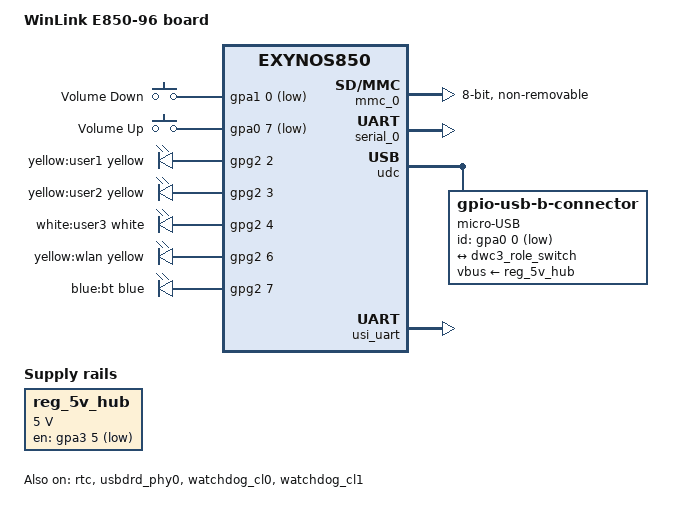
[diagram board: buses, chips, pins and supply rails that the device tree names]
// SPDX-License-Identifier: GPL-2.0
/*
 * WinLink E850-96 board device tree source
 *
 * Copyright (C) 2018 Samsung Electronics Co., Ltd.
 * Copyright (C) 2021 Linaro Ltd.
 *
 * Device tree source file for WinLink's E850-96 board which is based on
 * Samsung Exynos850 SoC.
 */

/dts-v1/;

#include "exynos850.dtsi"
#include <dt-bindings/gpio/gpio.h>
#include <dt-bindings/input/input.h>
#include <dt-bindings/leds/common.h>

/ {
	model = "WinLink E850-96 board";
	compatible = "winlink,e850-96", "samsung,exynos850";

	aliases {
		mmc0 = &mmc_0;
		serial0 = &serial_0;
	};

	chosen {
		stdout-path = &serial_0;
	};

	/*
	 * RAM: 4 GiB (eMCP):
	 *   - 2 GiB at 0x80000000
	 *   - 2 GiB at 0x880000000
	 *
	 * 0xbab00000..0xbfffffff: secure memory (85 MiB).
	 */
	memory@80000000 {
		device_type = "memory";
		reg = <0x0 0x80000000 0x3ab00000>,
		      <0x0 0xc0000000 0x40000000>,
		      <0x8 0x80000000 0x80000000>;
	};

	gpio-keys {
		compatible = "gpio-keys";
		pinctrl-names = "default";
		pinctrl-0 = <&key_voldown_pins &key_volup_pins>;

		volume-down-key {
			label = "Volume Down";
			linux,code = <KEY_VOLUMEDOWN>;
			gpios = <&gpa1 0 GPIO_ACTIVE_LOW>;
		};

		volume-up-key {
			label = "Volume Up";
			linux,code = <KEY_VOLUMEUP>;
			gpios = <&gpa0 7 GPIO_ACTIVE_LOW>;
		};
	};

	leds {
		compatible = "gpio-leds";

		/* HEART_BEAT_LED */
		user_led1: led-1 {
			label = "yellow:user1";
			gpios = <&gpg2 2 GPIO_ACTIVE_HIGH>;
			color = <LED_COLOR_ID_YELLOW>;
			function = LED_FUNCTION_HEARTBEAT;
			linux,default-trigger = "heartbeat";
		};

		/* eMMC_LED */
		user_led2: led-2 {
			label = "yellow:user2";
			gpios = <&gpg2 3 GPIO_ACTIVE_HIGH>;
			color = <LED_COLOR_ID_YELLOW>;
			linux,default-trigger = "mmc0";
		};

		/* SD_LED */
		user_led3: led-3 {
			label = "white:user3";
			gpios = <&gpg2 4 GPIO_ACTIVE_HIGH>;
			color = <LED_COLOR_ID_WHITE>;
			function = LED_FUNCTION_SD;
			linux,default-trigger = "mmc2";
		};

		/* WIFI_LED */
		wlan_active_led: led-4 {
			label = "yellow:wlan";
			gpios = <&gpg2 6 GPIO_ACTIVE_HIGH>;
			color = <LED_COLOR_ID_YELLOW>;
			function = LED_FUNCTION_WLAN;
			linux,default-trigger = "phy0tx";
			default-state = "off";
		};

		/* BLUETOOTH_LED */
		bt_active_led: led-5 {
			label = "blue:bt";
			gpios = <&gpg2 7 GPIO_ACTIVE_HIGH>;
			color = <LED_COLOR_ID_BLUE>;
			function = LED_FUNCTION_BLUETOOTH;
			linux,default-trigger = "hci0-power";
			default-state = "off";
		};
	};

	/*
	 * RTC clock (XrtcXTI); external, must be 32.768 kHz.
	 *
	 * TODO: Remove this once RTC clock is implemented properly as part of
	 *       PMIC driver.
	 */
	rtcclk: clock-rtcclk {
		compatible = "fixed-clock";
		clock-output-names = "rtcclk";
		#clock-cells = <0>;
		clock-frequency = <32768>;
	};

	reg_5v_hub: regulator@0 {
		compatible = "regulator-fixed";
		regulator-name = "5V_HUB";
		regulator-min-microvolt = <5000000>;
		regulator-max-microvolt = <5000000>;
		gpio = <&gpa3 5 GPIO_ACTIVE_LOW>;

		pinctrl-names = "default";
		pinctrl-0 = <&usb_pwr_ctl2>;
	};
};

&cmu_hsi {
	clocks = <&oscclk>, <&rtcclk>,
		 <&cmu_top CLK_DOUT_HSI_BUS>,
		 <&cmu_top CLK_DOUT_HSI_MMC_CARD>,
		 <&cmu_top CLK_DOUT_HSI_USB20DRD>;
	clock-names = "oscclk", "rtcclk", "dout_hsi_bus",
		      "dout_hsi_mmc_card", "dout_hsi_usb20drd";
};

&mmc_0 {
	status = "okay";
	mmc-hs200-1_8v;
	mmc-hs400-1_8v;
	cap-mmc-highspeed;
	non-removable;
	mmc-hs400-enhanced-strobe;
	card-detect-delay = <200>;
	clock-frequency = <800000000>;
	bus-width = <8>;
	samsung,dw-mshc-ciu-div = <3>;
	samsung,dw-mshc-sdr-timing = <0 4>;
	samsung,dw-mshc-ddr-timing = <2 4>;
	samsung,dw-mshc-hs400-timing = <0 2>;

	pinctrl-names = "default";
	pinctrl-0 = <&sd0_clk_pins &sd0_cmd_pins &sd0_rdqs_pins &sd0_nreset_pins
		     &sd0_bus1_pins &sd0_bus4_pins &sd0_bus8_pins>;
};

&oscclk {
	clock-frequency = <26000000>;
};

&pinctrl_alive {
	key_voldown_pins: key-voldown-pins {
		samsung,pins = "gpa1-0";
		samsung,pin-function = <EXYNOS_PIN_FUNC_EINT>;
		samsung,pin-pud = <EXYNOS_PIN_PULL_NONE>;
		samsung,pin-drv = <EXYNOS5420_PIN_DRV_LV1>;
	};

	key_volup_pins: key-volup-pins {
		samsung,pins = "gpa0-7";
		samsung,pin-function = <EXYNOS_PIN_FUNC_EINT>;
		samsung,pin-pud = <EXYNOS_PIN_PULL_NONE>;
		samsung,pin-drv = <EXYNOS5420_PIN_DRV_LV1>;
	};

	vbus_det_2: vbus_det_2 {
		samsung,pins = "gpa0-0";
		samsung,pin-function = <EXYNOS_PIN_FUNC_INPUT>;
		samsung,pin-pud = <EXYNOS_PIN_PULL_NONE>;
	};

	usb_pwr_ctl2: usb_pwr_ctl2 {
		samsung,pins = "gpa3-5";
		samsung,pin-function = <EXYNOS_PIN_FUNC_OUTPUT>;
		samsung,pin-pud = <EXYNOS_PIN_PULL_NONE>;
	};
};

&rtc {
	status = "okay";
	clocks = <&cmu_apm CLK_GOUT_RTC_PCLK>, <&rtcclk>;
	clock-names = "rtc", "rtc_src";
};

&serial_0 {
	status = "okay";
	pinctrl-names = "default";
	pinctrl-0 = <&uart1_pins>;
};

// XXX: For now the LK bootloader enables it for us (and also LDO11)
///* Enable PMIC LDO regulator for LAN9514 chip */
//&l24_reg {
//	regulator-name = "vdd_ldo24";
//	regulator-min-microvolt = <3300000>;
//	regulator-max-microvolt = <3300000>;
//	regulator-always-on;
//	regulator-ramp-delay = <12000>;
//	regulator-initial-mode = <3>;
//};

&udc {
	status = "okay";

	dwc3 {
		status = "okay";
		maximum-speed = "high-speed";
		usb_audio_offloading = <0>;
		xhci_l2_support = <0>;
		xhci_use_uram_for_audio = <0>;
	//	vdd33_usb-supply = <&l11_reg>;

		dr_mode = "otg";
		usb-role-switch;
		role-switch-default-mode = "host";

		port {
			#address-cells = <1>;
			#size-cells = <0>;

			dwc3_role_switch: endpoint@0 {
				reg = <0>;
				remote-endpoint = <&usb_b_connector>;
			};
		};
	};

	connector {
		compatible = "gpio-usb-b-connector", "usb-b-connector";
		label = "micro-USB";
		type = "micro";

		/*
		 * Provide VBUS line in id-gpios property to trick usb-conn-gpio
		 * driver to switch between DEVICE and HOST roles when cable is
		 * connected or disconnected. But don't use actual ID pin here,
		 * as it's floating (Hi-Z) in Type-B cable connector. The line
		 * is specified as active low to invert the VBUS line logic.
		 */
		id-gpios = <&gpa0 0 GPIO_ACTIVE_LOW>;
		vbus-supply = <&reg_5v_hub>;

		pinctrl-names = "default";
		pinctrl-0 = <&vbus_det_2>;

		port {
			#address-cells = <1>;
			#size-cells = <0>;

			usb_b_connector: endpoint@0 {
				reg = <0>;
				remote-endpoint = <&dwc3_role_switch>;
			};
		};
	};
};

&usbdrd_phy0 {
	status = "okay";
//	vdd33_usb-supply = <&l11_reg>;
};

&usi_uart {
	samsung,clkreq-on; /* needed for UART mode */
	status = "okay";
};

&watchdog_cl0 {
	status = "okay";
};

&watchdog_cl1 {
	status = "okay";
};
